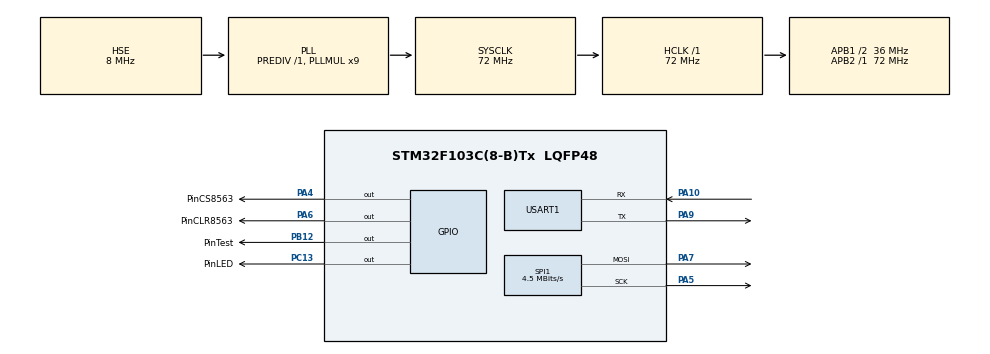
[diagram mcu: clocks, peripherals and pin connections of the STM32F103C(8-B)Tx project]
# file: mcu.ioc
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Dma.Request0=USART1_RX
Dma.Request1=SPI1_TX
Dma.SPI1_TX.1.Direction=DMA_MEMORY_TO_PERIPH
Dma.SPI1_TX.1.Instance=DMA1_Channel3
Dma.SPI1_TX.1.MemDataAlignment=DMA_MDATAALIGN_BYTE
Dma.SPI1_TX.1.MemInc=DMA_MINC_ENABLE
Dma.SPI1_TX.1.Mode=DMA_NORMAL
Dma.SPI1_TX.1.PeriphDataAlignment=DMA_PDATAALIGN_BYTE
Dma.SPI1_TX.1.PeriphInc=DMA_PINC_DISABLE
Dma.SPI1_TX.1.Priority=DMA_PRIORITY_LOW
Dma.USART1_RX.0.Direction=DMA_PERIPH_TO_MEMORY
Dma.USART1_RX.0.Instance=DMA1_Channel5
Dma.USART1_RX.0.MemDataAlignment=DMA_MDATAALIGN_BYTE
Dma.USART1_RX.0.MemInc=DMA_MINC_ENABLE
Dma.USART1_RX.0.Mode=DMA_NORMAL
Dma.USART1_RX.0.PeriphDataAlignment=DMA_PDATAALIGN_BYTE
Dma.USART1_RX.0.PeriphInc=DMA_PINC_DISABLE
Dma.USART1_RX.0.Priority=DMA_PRIORITY_LOW
Mcu.Family=STM32F1
Mcu.Name=STM32F103C(8-B)Tx
Mcu.Package=LQFP48
NVIC.DMA1_Channel3_IRQn=true\:0\:0\:false\:false\:true\:false\:true
NVIC.DMA1_Channel5_IRQn=true\:0\:0\:false\:false\:true\:false\:true
NVIC.PriorityGroup=NVIC_PRIORITYGROUP_4
NVIC.SPI1_IRQn=true\:0\:0\:false\:true\:true\:1\:true\:true
NVIC.TIM2_IRQn=true\:0\:0\:false\:false\:true\:true\:true
NVIC.USART1_IRQn=true\:0\:0\:false\:true\:true\:2\:true\:true
PA10.Mode=Asynchronous
PA10.Signal=USART1_RX
PA13.Mode=Serial_Wire
PA13.Signal=SYS_JTMS-SWDIO
PA14.Mode=Serial_Wire
PA14.Signal=SYS_JTCK-SWCLK
PA4.GPIO_Label=PinCS8563
PA4.Signal=GPIO_Output
PA5.Mode=TX_Only_Simplex_Unidirect_Master
PA5.Signal=SPI1_SCK
PA6.GPIO_Label=PinCLR8563
PA6.Signal=GPIO_Output
PA7.Mode=TX_Only_Simplex_Unidirect_Master
PA7.Signal=SPI1_MOSI
PA9.Mode=Asynchronous
PA9.Signal=USART1_TX
PB12.GPIO_Label=PinTest
PB12.Signal=GPIO_Output
PC13-TAMPER-RTC.GPIO_Label=PinLED
PC13-TAMPER-RTC.Signal=GPIO_Output
PD0-OSC_IN.Mode=HSE-External-Oscillator
PD0-OSC_IN.Signal=RCC_OSC_IN
PD1-OSC_OUT.Mode=HSE-External-Oscillator
PD1-OSC_OUT.Signal=RCC_OSC_OUT
ProjectManager.HeapSize=0x200
ProjectManager.StackSize=0x400
ProjectManager.TargetToolchain=MDK-ARM V5
RCC.AHBFreq_Value=72000000
RCC.APB1CLKDivider=RCC_HCLK_DIV2
RCC.APB1Freq_Value=36000000
RCC.APB1TimFreq_Value=72000000
RCC.APB2Freq_Value=72000000
RCC.APB2TimFreq_Value=72000000
RCC.HCLKFreq_Value=72000000
RCC.PLLMUL=RCC_PLL_MUL9
RCC.PLLSourceVirtual=RCC_PLLSOURCE_HSE
RCC.SYSCLKFreq_VALUE=72000000
RCC.SYSCLKSource=RCC_SYSCLKSOURCE_PLLCLK
RCC.USBFreq_Value=72000000
SPI1.BaudRatePrescaler=SPI_BAUDRATEPRESCALER_16
SPI1.CLKPhase=SPI_PHASE_1EDGE
SPI1.CLKPolarity=SPI_POLARITY_HIGH
SPI1.CalculateBaudRate=4.5 MBits/s
SPI1.Direction=SPI_DIRECTION_2LINES
SPI1.Mode=SPI_MODE_MASTER
SPI1.VirtualType=VM_MASTER
TIM2.AutoReloadPreload=TIM_AUTORELOAD_PRELOAD_ENABLE
TIM2.Period=17280
TIM2.Prescaler=1
USART1.VirtualMode=VM_ASYNC
VP_TIM2_VS_ClockSourceINT.Mode=Internal
board=custom

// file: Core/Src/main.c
/* USER CODE BEGIN Header */
/**
  ******************************************************************************
  * @file           : main.c
  * @brief          : Main program body
  ******************************************************************************
  * @attention
  *
  * <h2><center>&copy; Copyright (c) 2019 STMicroelectronics.
  * All rights reserved.</center></h2>
  *
  * This software component is licensed by ST under BSD 3-Clause license,
  * the "License"; You may not use this file except in compliance with the
  * License. You may obtain a copy of the License at:
  *                        opensource.org/licenses/BSD-3-Clause
  *
  ******************************************************************************
  */
/* USER CODE END Header */

#include "main.h"
#include "dma.h"
#include "spi.h"
#include "tim.h"
#include "usart.h"
#include "gpio.h"

/* USER CODE BEGIN Includes */
#include <string.h>

/* USER CODE END Includes */

/* USER CODE BEGIN PV */
#define DAC8563CS_H HAL_GPIO_WritePin(PinCS8563_GPIO_Port,PinCS8563_Pin,GPIO_PIN_SET)
#define DAC8563CS_L HAL_GPIO_WritePin(PinCS8563_GPIO_Port,PinCS8563_Pin,GPIO_PIN_RESET)
/* USER CODE END PV */

void SystemClock_Config(void);
static void MX_NVIC_Init(void);
/* USER CODE BEGIN PFP */
void setDualChannelValue(uint16_t data );
void routineUpdate(void);
void InitDAC(void);
/* USER CODE END PFP */

/* USER CODE BEGIN 0 */
uint8_t gTable[1000];
uint8_t gTableBuf[1000];

uint16_t gTableIndex;
HAL_StatusTypeDef gHalStatus;
uint8_t buf[3];

/* USER CODE END 0 */

int main(void)
{

  /* MCU Configuration--------------------------------------------------------*/

  /* Reset of all peripherals, Initializes the Flash interface and the Systick. */
  HAL_Init();

  /* Configure the system clock */
  SystemClock_Config();

  /* Initialize all configured peripherals */
  MX_GPIO_Init();
  MX_DMA_Init();
  MX_SPI1_Init();
  MX_USART1_UART_Init();
  MX_TIM2_Init();

  /* Initialize interrupts */
  MX_NVIC_Init();
  /* USER CODE BEGIN 2 */

	InitDAC();
	HAL_TIM_Base_Start_IT(&htim2);

  /* USER CODE END 2 */

  /* Infinite loop */
  /* USER CODE BEGIN WHILE */
	gTableIndex=0;

  while (1)
  {
    /* USER CODE END WHILE */

    /* USER CODE BEGIN 3 */
			//setDualChannelValue(5.23);
		//	HAL_Delay(100);
			HAL_Delay(1);

		gHalStatus=HAL_UART_Receive(&huart1,gTableBuf,1000,150);
		if(gHalStatus!=HAL_OK){
			HAL_Delay(10);
			//memset(gTable,0,1000);
		}
		else{
			memcpy(gTable,gTableBuf,1000);
			HAL_Delay(100);
		}
  }
  /* USER CODE END 3 */
}

void SystemClock_Config(void)
{
  RCC_OscInitTypeDef RCC_OscInitStruct = {0};
  RCC_ClkInitTypeDef RCC_ClkInitStruct = {0};

  /** Initializes the CPU, AHB and APB busses clocks
  */
  RCC_OscInitStruct.OscillatorType = RCC_OSCILLATORTYPE_HSE;
  RCC_OscInitStruct.HSEState = RCC_HSE_ON;
  RCC_OscInitStruct.HSEPredivValue = RCC_HSE_PREDIV_DIV1;
  RCC_OscInitStruct.HSIState = RCC_HSI_ON;
  RCC_OscInitStruct.PLL.PLLState = RCC_PLL_ON;
  RCC_OscInitStruct.PLL.PLLSource = RCC_PLLSOURCE_HSE;
  RCC_OscInitStruct.PLL.PLLMUL = RCC_PLL_MUL9;
  if (HAL_RCC_OscConfig(&RCC_OscInitStruct) != HAL_OK)
  {
    Error_Handler();
  }
  /** Initializes the CPU, AHB and APB busses clocks
  */
  RCC_ClkInitStruct.ClockType = RCC_CLOCKTYPE_HCLK|RCC_CLOCKTYPE_SYSCLK
                              |RCC_CLOCKTYPE_PCLK1|RCC_CLOCKTYPE_PCLK2;
  RCC_ClkInitStruct.SYSCLKSource = RCC_SYSCLKSOURCE_PLLCLK;
  RCC_ClkInitStruct.AHBCLKDivider = RCC_SYSCLK_DIV1;
  RCC_ClkInitStruct.APB1CLKDivider = RCC_HCLK_DIV2;
  RCC_ClkInitStruct.APB2CLKDivider = RCC_HCLK_DIV1;

  if (HAL_RCC_ClockConfig(&RCC_ClkInitStruct, FLASH_LATENCY_2) != HAL_OK)
  {
    Error_Handler();
  }
}

/**
  * @brief NVIC Configuration.
  * @retval None
  */
static void MX_NVIC_Init(void)
{
  /* SPI1_IRQn interrupt configuration */
  HAL_NVIC_SetPriority(SPI1_IRQn, 0, 0);
  HAL_NVIC_EnableIRQ(SPI1_IRQn);
  /* USART1_IRQn interrupt configuration */
  HAL_NVIC_SetPriority(USART1_IRQn, 0, 0);
  HAL_NVIC_EnableIRQ(USART1_IRQn);
}

/* USER CODE BEGIN 4 */
void HAL_UART_RxCpltCallback(UART_HandleTypeDef *huart)
{
	HAL_GPIO_TogglePin(PinLED_GPIO_Port,PinLED_Pin);

}

void setDualChannelValue(uint16_t data ) {
	uint8_t buf[3];
	//RST
	//buf[0]=0b00010111;
	buf[0]=0x17;
	buf[1]=(uint8_t)(data>>8);
	buf[2]=(uint8_t)data;
	DAC8563CS_H;
	DAC8563CS_L;
	HAL_SPI_Transmit(&hspi1,buf,3,1000);
	DAC8563CS_H;
}

void routineUpdate(){
	if(gTableIndex==500)
		gTableIndex=0;
	uint16_t data=((uint16_t)(gTable[gTableIndex*2])<<8)|gTable[gTableIndex*2+1];
	setDualChannelValue(data);
	gTableIndex++;
}
void InitDAC(){
	HAL_GPIO_WritePin(PinCLR8563_GPIO_Port,PinCLR8563_Pin,GPIO_PIN_SET);
	HAL_Delay(1); 9
		HAL_GPIO_WritePin(PinCLR8563_GPIO_Port,PinCLR8563_Pin,GPIO_PIN_RESET);
	HAL_Delay(1);
		HAL_GPIO_WritePin(PinCLR8563_GPIO_Port,PinCLR8563_Pin,GPIO_PIN_SET);

	buf[0]=0x28;
	buf[1]=0x00;
	buf[2]=0xff;
	DAC8563CS_H;
	DAC8563CS_L;
	HAL_SPI_Transmit(&hspi1,buf,3,1000);
	DAC8563CS_H;

	buf[0]=0x27;
	buf[1]=0x00;
	buf[2]=0x03;
	DAC8563CS_H;
	DAC8563CS_L;
	HAL_SPI_Transmit(&hspi1,buf,3,1000);
	DAC8563CS_H;

	buf[0]=0x3f;
	buf[1]=0x0;
	buf[2]=0x01;
	DAC8563CS_H;
	DAC8563CS_L;
	HAL_SPI_Transmit(&hspi1,buf,3,1000);
	DAC8563CS_H;
}
/* USER CODE END 4 */

void Error_Handler(void)
{
}

/************************ (C) COPYRIGHT STMicroelectronics *****END OF FILE****/
